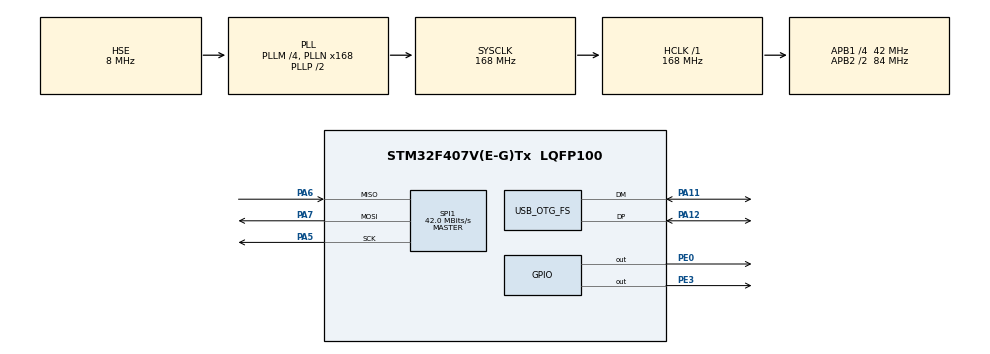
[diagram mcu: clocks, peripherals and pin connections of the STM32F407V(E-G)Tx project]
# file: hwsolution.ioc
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EdgeImpulse.finalproject2.1.0.1.MachineLearningCcfinalproject2JjCore=true
Mcu.Family=STM32F4
Mcu.Name=STM32F407V(E-G)Tx
Mcu.Package=LQFP100
NVIC.OTG_FS_IRQn=true\:0\:0\:false\:false\:true\:false\:true\:true
NVIC.PriorityGroup=NVIC_PRIORITYGROUP_4
PA11.Mode=Device_Only
PA11.Signal=USB_OTG_FS_DM
PA12.Mode=Device_Only
PA12.Signal=USB_OTG_FS_DP
PA13.Mode=Trace_Asynchronous_SW
PA13.Signal=SYS_JTMS-SWDIO
PA14.Mode=Trace_Asynchronous_SW
PA14.Signal=SYS_JTCK-SWCLK
PA5.Mode=Full_Duplex_Master
PA5.Signal=SPI1_SCK
PA6.Mode=Full_Duplex_Master
PA6.Signal=SPI1_MISO
PA7.Mode=Full_Duplex_Master
PA7.Signal=SPI1_MOSI
PB3.Mode=Trace_Asynchronous_SW
PB3.Signal=SYS_JTDO-SWO
PE0.Signal=GPIO_Output
PE3.Signal=GPIO_Output
PH0-OSC_IN.Mode=HSE-External-Oscillator
PH0-OSC_IN.Signal=RCC_OSC_IN
PH1-OSC_OUT.Mode=HSE-External-Oscillator
PH1-OSC_OUT.Signal=RCC_OSC_OUT
ProjectManager.HeapSize=0x200
ProjectManager.StackSize=0x400
ProjectManager.TargetToolchain=STM32CubeIDE
RCC.48MHZClocksFreq_Value=48000000
RCC.AHBFreq_Value=168000000
RCC.APB1CLKDivider=RCC_HCLK_DIV4
RCC.APB1Freq_Value=42000000
RCC.APB1TimFreq_Value=84000000
RCC.APB2CLKDivider=RCC_HCLK_DIV2
RCC.APB2Freq_Value=84000000
RCC.APB2TimFreq_Value=168000000
RCC.CortexFreq_Value=168000000
RCC.HCLKFreq_Value=168000000
RCC.HSE_VALUE=8000000
RCC.HSI_VALUE=16000000
RCC.LSE_VALUE=32768
RCC.PLLM=4
RCC.PLLN=168
RCC.PLLQ=7
RCC.SYSCLKFreq_VALUE=168000000
RCC.SYSCLKSource=RCC_SYSCLKSOURCE_PLLCLK
RCC.VCOOutputFreq_Value=336000000
SPI1.CalculateBaudRate=42.0 MBits/s
SPI1.Direction=SPI_DIRECTION_2LINES
SPI1.Mode=SPI_MODE_MASTER
SPI1.VirtualType=VM_MASTER
USB_DEVICE.CLASS_NAME_FS=CDC
USB_DEVICE.VirtualMode-CDC_FS=Cdc
USB_DEVICE.VirtualModeFS=Cdc_FS
USB_OTG_FS.VirtualMode=Device_Only
VP_CRC_VS_CRC.Mode=CRC_Activate
VP_EdgeImpulse.finalproject2_VS_finalproject2JjMachineLearning_1.0.1_1.0.1.Mode=finalproject2JjMachineLearning
VP_USB_DEVICE_VS_USB_DEVICE_CDC_FS.Mode=CDC_FS
board=custom

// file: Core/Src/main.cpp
/* USER CODE BEGIN Header */
/**
  ******************************************************************************
  * @file           : main.c
  * @brief          : Main program body
  ******************************************************************************
  * @attention
  *
  * Copyright (c) 2022 STMicroelectronics.
  * All rights reserved.
  *
  * This software is licensed under terms that can be found in the LICENSE file
  * in the root directory of this software component.
  * If no LICENSE file comes with this software, it is provided AS-IS.
  *
  ******************************************************************************
  */
/* USER CODE END Header */
#include "main.h"
#include "usb_device.h"

/* USER CODE BEGIN Includes */
#include "edge-impulse-sdk/classifier/ei_run_classifier.h"

using namespace ei;

// paste the raw features here
static const float features[] = {
		162.2424, -27.8252, 454.5918, 270.9091, -55.2039, 392.2041, 535.6364, -72.6214, -29.3265, 509.0909, -8.4272, -298.5918, 522.2424, -22.6408, -169.1020, 396.5454, -51.4757, 269.1429, 100.2424, 1.8252, 471.5510, 8.4242, 34.5631, 473.7551, 381.7575, -81.6505, 270.7959, 551.9393, -37.2039, -110.9388, 556.0605, 33.2816, -198.4286, 508.7272, -25.4369, 93.3674, 132.3030, -9.0680, 469.1633, -100.0000, 52.0388, 458.0816, 11.1515, 16.1553, 442.8979,69.5758, 2.1748, 444.9183, -318.0606, 97.1845, 253.1020, -521.2726, 124.3884, 178.9592, 85.7576, -8.6019, 422.6938, 475.8182, 1.5340, 318.1837, 56.6061, -28.1748, 381.8571, -490.0606, 111.8641, 157.2857, -505.0909, 125.6116, 173.8163, 22.2424, 18.4854, 428.0816, 366.9091, 16.5631, 348.2449, 260.1818, -9.5922, 410.3265, -297.5757, 20.8738, 256.7755, -474.6060, 138.4272, 113.3878, -236.0000, 7.8252, 380.6939, 275.7576, 5.4951, 409.9592
};

int get_feature_data(size_t offset, size_t length, float *out_ptr) {
    memcpy(out_ptr, features + offset, length * sizeof(float));
    return 0;
}
#include "usbd_cdc_if.h"
#include "string.h"
#include "MY_LIS3DSH.h"
#include <stdio.h>
/* USER CODE END Includes */

/* USER CODE BEGIN PTD */
LIS3DSH_InitTypeDef myAccConfigDef;
/* USER CODE END PTD */

CRC_HandleTypeDef hcrc;

SPI_HandleTypeDef hspi1;

void SystemClock_Config(void);
static void MX_GPIO_Init(void);
static void MX_SPI1_Init(void);
static void MX_CRC_Init(void);

/* USER CODE BEGIN 0 */
#include <stdarg.h>
#include "edge-impulse-sdk/classifier/ei_run_classifier.h"

void vprint(const char *fmt, va_list argp)
{
    char string[200];
    if(0 < vsprintf(string, fmt, argp)) // build string
    {
    	CDC_Transmit_FS((uint8_t*)string, strlen(string));

    }
}

void ei_printf(const char *format, ...) {
    va_list myargs;
    va_start(myargs, format);
    vprint(format, myargs);
    va_end(myargs);
}
    char *comma = ",";
	char *end = " \n";
	char *message[500] = {};
    char * recivebuffer[64];
/* USER CODE END 0 */

int main(void)
{

  /* MCU Configuration--------------------------------------------------------*/

  /* Reset of all peripherals, Initializes the Flash interface and the Systick. */
  HAL_Init();

  /* USER CODE BEGIN Init */
  signal_t signal;
  signal.total_length = sizeof(features) / sizeof(features[0]);
  signal.get_data = &get_feature_data;

  /* USER CODE END Init */

  /* Configure the system clock */
  SystemClock_Config();

  /* Initialize all configured peripherals */
  MX_GPIO_Init();
  MX_USB_DEVICE_Init();
  MX_SPI1_Init();
  MX_CRC_Init();
  /* USER CODE BEGIN 2 */
  myAccConfigDef.dataRate = LIS3DSH_DATARATE_1600;
  	myAccConfigDef.fullScale = LIS3DSH_FULLSCALE_2;
  	myAccConfigDef.antiAliasingBW = LIS3DSH_FILTER_BW_50;//update rate
  	myAccConfigDef.enableAxes = LIS3DSH_XYZ_ENABLE;
  	myAccConfigDef.interruptEnable = false;
  	LIS3DSH_Init(&hspi1, &myAccConfigDef);
  	LIS3DSH_DataScaled myscaledata;
  	LIS3DSH_X_calibrate(-1000.0, 980.0);
  	    LIS3DSH_Y_calibrate(-1020.0, 1040.0);
  	    LIS3DSH_Z_calibrate(-920.0, 1040.0);
  /* USER CODE END 2 */

  /* Infinite loop */
  /* USER CODE BEGIN WHILE */
  	  while (1)
  	  {
  	        ei_impulse_result_t result = { 0 };
  	        EI_IMPULSE_ERROR res = run_classifier(&signal, &result, true);
  	        ei_printf("run_classifier returned: %d\n", res);

  	        ei_printf("Predictions (DSP: %d ms., Classification: %d ms., Anomaly: %d ms.): \n",
  	            result.timing.dsp, result.timing.classification, result.timing.anomaly);

  	        // print the predictions
  	        ei_printf("[");
  	        for (size_t ix = 0; ix < EI_CLASSIFIER_LABEL_COUNT; ix++) {
  	      	  ei_printf_float(result.classification[ix].value);
  	    #if EI_CLASSIFIER_HAS_ANOMALY == 1
  	            ei_printf(", ");
  	    #else
  	            if (ix != EI_CLASSIFIER_LABEL_COUNT - 1) {
  	                ei_printf(", ");
  	            }
  	    #endif
  	        }
  	    #if EI_CLASSIFIER_HAS_ANOMALY == 1
  	        ei_printf_float(result.anomaly);
  	    #endif
  	        ei_printf("]\n\n\n");

  	      HAL_Delay(5000);
  	  }
	 // CDC_Transmit_FS(sendbuffer, strlen(sendbuffer));
	//  HAL_Delay(100);
	  	 char *ret;
	 			  	    if (!ret)
	 			  	    {
	  if (LIS3DSH_PollDRDY(100)==true)
	  {
		myscaledata=LIS3DSH_GetDataScaled();
		char buf[50];
		sprintf(buf,"%f,%f,%f\n",myscaledata.x,myscaledata.y,myscaledata.z);
		/* char *bufx[20];
			  	char *bufy[20];
			  	char *bufz[20];
				memset( bufx, 0, sizeof( bufx));
				memset( bufy, 0, sizeof( bufy));
				memset( bufz, 0, sizeof( bufz));
			  	gcvt(myscaledata.x, 9, bufx);
			  	gcvt(myscaledata.y, 9, bufy);
			  	gcvt(myscaledata.z, 9, bufz);
			  	strcat(message,bufx);
			  	strcat(message,comma);
			  	strcat(message,bufy);
			  	strcat(message,comma);
			  	strcat(message,bufz);
			  	strcat(message,end); */

			  	CDC_Transmit_FS((uint8_t *) buf, strlen(buf));
			  	  HAL_Delay(300)
			  	;

	  }
    /* USER CODE END WHILE */

	 			  	    }
  }

void SystemClock_Config(void)
{
  RCC_OscInitTypeDef RCC_OscInitStruct = {0};
  RCC_ClkInitTypeDef RCC_ClkInitStruct = {0};

  /** Configure the main internal regulator output voltage
  */
  __HAL_RCC_PWR_CLK_ENABLE();
  __HAL_PWR_VOLTAGESCALING_CONFIG(PWR_REGULATOR_VOLTAGE_SCALE1);

  /** Initializes the RCC Oscillators according to the specified parameters
  * in the RCC_OscInitTypeDef structure.
  */
  RCC_OscInitStruct.OscillatorType = RCC_OSCILLATORTYPE_HSE;
  RCC_OscInitStruct.HSEState = RCC_HSE_ON;
  RCC_OscInitStruct.PLL.PLLState = RCC_PLL_ON;
  RCC_OscInitStruct.PLL.PLLSource = RCC_PLLSOURCE_HSE;
  RCC_OscInitStruct.PLL.PLLM = 4;
  RCC_OscInitStruct.PLL.PLLN = 168;
  RCC_OscInitStruct.PLL.PLLP = RCC_PLLP_DIV2;
  RCC_OscInitStruct.PLL.PLLQ = 7;
  if (HAL_RCC_OscConfig(&RCC_OscInitStruct) != HAL_OK)
  {
    Error_Handler();
  }

  /** Initializes the CPU, AHB and APB buses clocks
  */
  RCC_ClkInitStruct.ClockType = RCC_CLOCKTYPE_HCLK|RCC_CLOCKTYPE_SYSCLK
                              |RCC_CLOCKTYPE_PCLK1|RCC_CLOCKTYPE_PCLK2;
  RCC_ClkInitStruct.SYSCLKSource = RCC_SYSCLKSOURCE_PLLCLK;
  RCC_ClkInitStruct.AHBCLKDivider = RCC_SYSCLK_DIV1;
  RCC_ClkInitStruct.APB1CLKDivider = RCC_HCLK_DIV4;
  RCC_ClkInitStruct.APB2CLKDivider = RCC_HCLK_DIV2;

  if (HAL_RCC_ClockConfig(&RCC_ClkInitStruct, FLASH_LATENCY_5) != HAL_OK)
  {
    Error_Handler();
  }
}

static void MX_CRC_Init(void)
{

  hcrc.Instance = CRC;
  if (HAL_CRC_Init(&hcrc) != HAL_OK)
  {
    Error_Handler();
  }

}

static void MX_SPI1_Init(void)
{

  /* SPI1 parameter configuration*/
  hspi1.Instance = SPI1;
  hspi1.Init.Mode = SPI_MODE_MASTER;
  hspi1.Init.Direction = SPI_DIRECTION_2LINES;
  hspi1.Init.DataSize = SPI_DATASIZE_8BIT;
  hspi1.Init.CLKPolarity = SPI_POLARITY_LOW;
  hspi1.Init.CLKPhase = SPI_PHASE_1EDGE;
  hspi1.Init.NSS = SPI_NSS_SOFT;
  hspi1.Init.BaudRatePrescaler = SPI_BAUDRATEPRESCALER_2;
  hspi1.Init.FirstBit = SPI_FIRSTBIT_MSB;
  hspi1.Init.TIMode = SPI_TIMODE_DISABLE;
  hspi1.Init.CRCCalculation = SPI_CRCCALCULATION_DISABLE;
  hspi1.Init.CRCPolynomial = 10;
  if (HAL_SPI_Init(&hspi1) != HAL_OK)
  {
    Error_Handler();
  }

}

static void MX_GPIO_Init(void)
{
  GPIO_InitTypeDef GPIO_InitStruct = {0};

  /* GPIO Ports Clock Enable */
  __HAL_RCC_GPIOE_CLK_ENABLE();
  __HAL_RCC_GPIOH_CLK_ENABLE();
  __HAL_RCC_GPIOA_CLK_ENABLE();
  __HAL_RCC_GPIOB_CLK_ENABLE();

  /*Configure GPIO pin Output Level */
  HAL_GPIO_WritePin(GPIOE, GPIO_PIN_3|GPIO_PIN_0, GPIO_PIN_RESET);

  /*Configure GPIO pins : PE3 PE0 */
  GPIO_InitStruct.Pin = GPIO_PIN_3|GPIO_PIN_0;
  GPIO_InitStruct.Mode = GPIO_MODE_OUTPUT_PP;
  GPIO_InitStruct.Pull = GPIO_NOPULL;
  GPIO_InitStruct.Speed = GPIO_SPEED_FREQ_LOW;
  HAL_GPIO_Init(GPIOE, &GPIO_InitStruct);

}

void Error_Handler(void)
{
}
